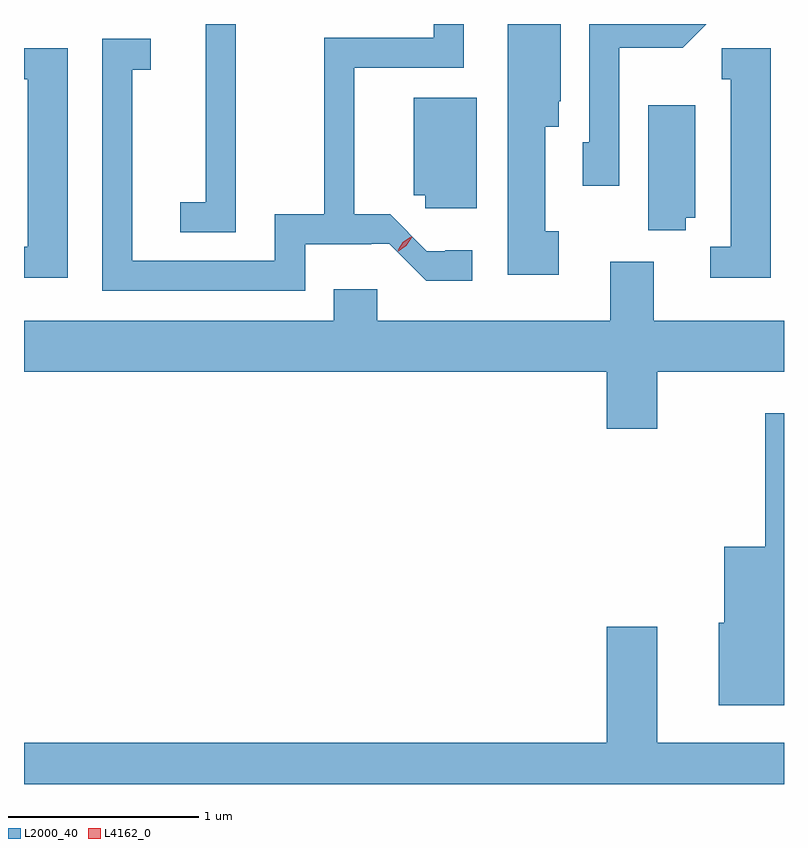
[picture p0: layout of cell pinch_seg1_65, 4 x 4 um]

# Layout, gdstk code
import gdstk
lib = gdstk.Library(unit=1e-6, precision=1e-09)
def P(c, l, *ps):  # polygons
    for p in ps: c.add(gdstk.Polygon(p, *l))
L2000_40 = (2000, 40)
L4162_0 = (4162, 0)

pinch_seg1_65 = lib.new_cell('pinch_seg1_65')
P(pinch_seg1_65, L2000_40, [(193.144,865.886),(192.986,865.886),(192.986,864.949),(192.853,864.949),(192.853,864.791),(193.144,864.791)],
  [(194.844,864.794),(194.774,864.794),(194.774,865.346),(194.844,865.346),(194.844,865.48),(194.854,865.48),(194.854,865.886),(194.576,865.886),(194.576,864.566),(194.844,864.566)],
  [(195.164,865.761),(195.497,865.761),(195.622,865.886),(195.006,865.886),(195.006,865.264),(194.971,865.264),(194.971,865.036),(195.164,865.036)],
  [(193.509,864.726),(193.858,864.726),(193.858,864.73),(193.953,864.73),(194.147,864.536),(194.388,864.536),(194.388,864.694),(194.248,864.694),(194.248,864.69),(194.151,864.69),(193.957,864.884),(193.769,864.884),(193.769,865.656),(194.344,865.656),(194.344,865.886),(194.186,865.886),(194.186,865.814),(193.611,865.814),(193.611,864.884),(193.351,864.884),(193.351,864.639),(192.599,864.639),(192.599,865.646),(192.698,865.646),(192.698,865.809),(192.441,865.809),(192.441,864.481),(193.509,864.481)],
  [(192.259,865.759),(192.03,865.759),(192.03,865.596),(192.051,865.596),(192.051,864.714),(192.03,864.714),(192.03,864.551),(192.259,864.551)],
  [(195.959,865.759),(195.703,865.759),(195.703,865.596),(195.751,865.596),(195.751,864.714),(195.643,864.714),(195.643,864.551),(195.959,864.551)],
  [(194.414,865.499),(194.081,865.499),(194.081,864.986),(194.141,864.986),(194.141,864.916),(194.414,864.916)],
  [(195.514,864.866),(195.564,864.866),(195.564,865.459),(195.316,865.459),(195.316,864.801),(195.514,864.801)],
  [(195.364,864.056),(196.03,864.056),(196.03,864.324),(195.344,864.324),(195.344,864.634),(195.116,864.634),(195.116,864.324),(193.889,864.324),(193.889,864.489),(193.661,864.489),(193.661,864.324),(192.03,864.324),(192.03,864.056),(195.096,864.056),(195.096,863.756),(195.364,863.756)],
  [(196.03,863.838),(195.931,863.838),(195.931,863.134),(195.716,863.134),(195.716,862.734),(195.686,862.734),(195.686,862.301),(196.03,862.301)],
  [(196.03,862.104),(195.364,862.104),(195.364,862.714),(195.096,862.714),(195.096,862.104),(192.03,862.104),(192.03,861.886),(196.03,861.886)])
P(pinch_seg1_65, L4162_0, [(193.996,864.694),(193.996,864.694),(194.024,864.737),(194.066,864.766),(194.066,864.766),(194.066,864.766),(194.039,864.723),(193.997,864.694)],
  [(193.997,864.687),(193.997,864.687),(194.028,864.734),(194.072,864.766),(194.073,864.766),(194.073,864.765),(194.042,864.719),(193.998,864.687)])

lib.write_gds('pinch_seg1_65.gds')
